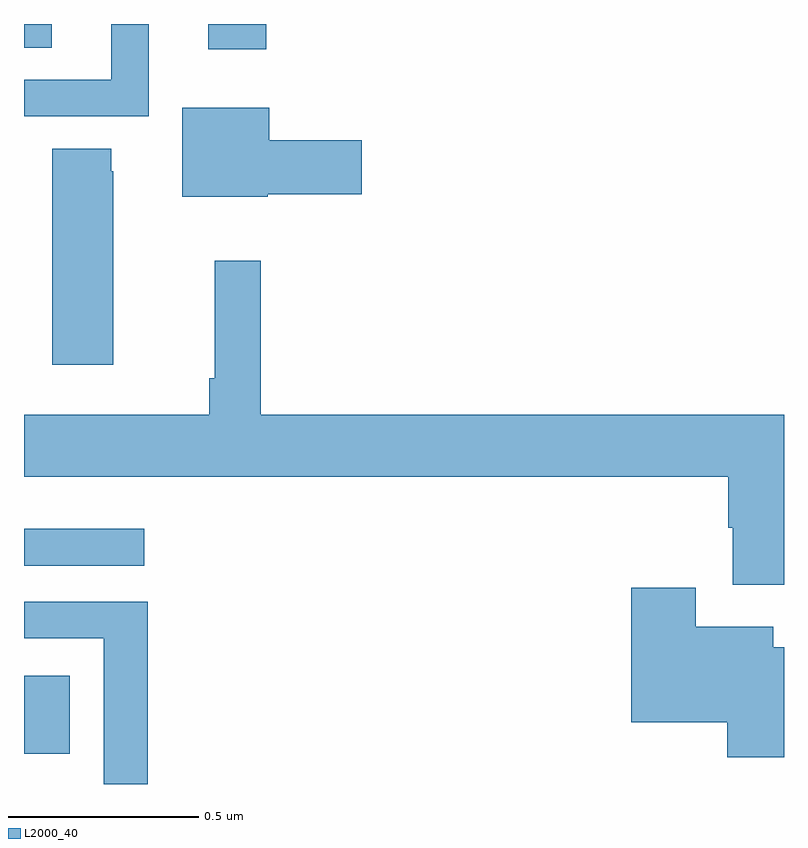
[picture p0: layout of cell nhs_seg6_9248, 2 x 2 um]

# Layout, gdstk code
import gdstk
lib = gdstk.Library(unit=1e-6, precision=1e-09)
def R(c, l, rs):  # rectangles x0, y0, x1, y1
    for r in rs: c.add(gdstk.rectangle(r[:2], r[2:], *l))
def P(c, l, *ps):  # polygons
    for p in ps: c.add(gdstk.Polygon(p, *l))
L2000_40 = (2000, 40)

nhs_seg6_9248 = lib.new_cell('nhs_seg6_9248')
R(nhs_seg6_9248, L2000_40, [(231,974.579,231.121,974.785), (231,975.075,231.316,975.172), (231.485,976.434,231.638,976.5), (231,976.438,231.073,976.5)])
P(nhs_seg6_9248, L2000_40, [(231.328,976.5),(231.23,976.5),(231.23,976.353),(231,976.353),(231,976.257),(231.328,976.257)],
  [(231.642,976.052),(231.889,976.052),(231.889,976.194),(231.646,976.194),(231.646,976.279),(231.416,976.279),(231.416,976.046),(231.642,976.046)],
  [(231.235,976.113),(231.229,976.113),(231.229,976.172),(231.074,976.172),(231.074,975.603),(231.235,975.603)],
  [(233,975.472),(231.623,975.472),(231.623,975.877),(231.502,975.877),(231.502,975.568),(231.487,975.568),(231.487,975.472),(231,975.472),(231,975.308),(232.853,975.308),(232.853,975.174),(232.865,975.174),(232.865,975.024),(233,975.024)],
  [(233,974.86),(232.972,974.86),(232.972,974.914),(232.768,974.914),(232.768,975.016),(232.598,975.016),(232.598,974.663),(232.85,974.663),(232.85,974.57),(233,974.57)],
  [(231.326,974.979),(231,974.979),(231,974.883),(231.21,974.883),(231.21,974.5),(231.326,974.5)])

lib.write_gds('nhs_seg6_9248.gds')
